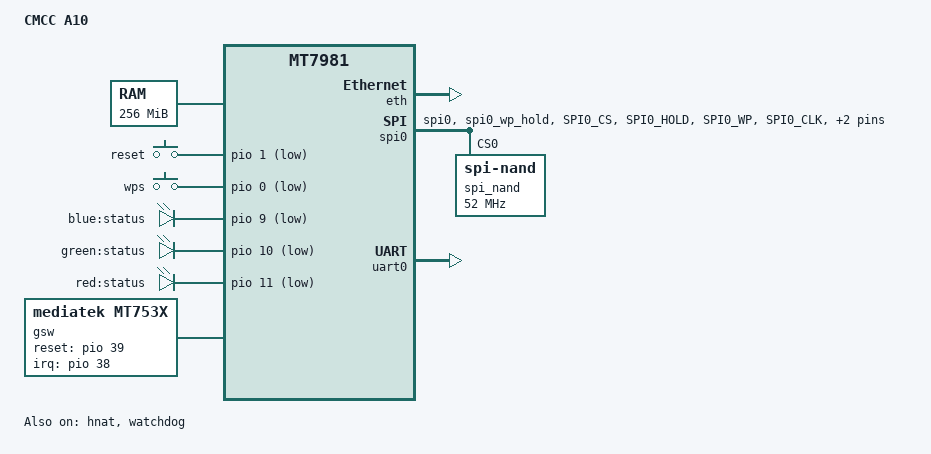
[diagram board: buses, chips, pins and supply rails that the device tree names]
// SPDX-License-Identifier: GPL-2.0-or-later OR MIT
/*
 * Copyright (C) 2023 Tianling Shen <cnsztl@immortalwrt.org>
 */

/dts-v1/;
#include "mt7981.dtsi"

/ {
	model = "CMCC A10";
	compatible = "cmcc,a10", "mediatek,mt7981";

	aliases {
		led-boot = &boot_led;
		led-failsafe = &boot_led;
		led-running = &running_led;
		led-upgrade = &running_led;
	};

	chosen {
		bootargs = "console=ttyS0,115200n1 loglevel=8 earlycon=uart8250,mmio32,0x11002000";
	};

	memory {
		reg = <0 0x40000000 0 0x10000000>;
	};

	gpio-keys {
		compatible = "gpio-keys";

		button-reset {
			label = "reset";
			linux,code = <KEY_RESTART>;
			gpios = <&pio 1 GPIO_ACTIVE_LOW>;
		};

		button-wps {
			label = "wps";
			linux,code = <KEY_WPS_BUTTON>;
			gpios = <&pio 0 GPIO_ACTIVE_LOW>;
		};
	};

	gpio-leds {
		compatible = "gpio-leds";

		led-0 {
			label = "blue:status";
			gpios = <&pio 9 GPIO_ACTIVE_LOW>;
		};

		running_led: led-1 {
			label = "green:status";
			gpios = <&pio 10 GPIO_ACTIVE_LOW>;
		};

		boot_led: led-2 {
			label = "red:status";
			gpios = <&pio 11 GPIO_ACTIVE_LOW>;
		};
	};

	gsw: gsw@0 {
		compatible = "mediatek,mt753x";
		mediatek,ethsys = <&ethsys>;
		#address-cells = <1>;
		#size-cells = <0>;
	};

	nmbm_spim_nand {
		compatible = "generic,nmbm";

		#address-cells = <1>;
		#size-cells = <1>;

		lower-mtd-device = <&spi_nand>;
		forced-create;

		partitions {
			compatible = "fixed-partitions";
			#address-cells = <1>;
			#size-cells = <1>;

			partition@0 {
				label = "BL2";
				reg = <0x00000 0x100000>;
				read-only;
			};

			partition@100000 {
				label = "u-boot-env";
				reg = <0x100000 0x80000>;
			};

			partition@180000 {
				label = "Factory";
				reg = <0x180000 0x200000>;
			};

			partition@380000 {
				label = "FIP";
				reg = <0x380000 0x200000>;
			};

			partition@580000 {
				label = "ubi";
				reg = <0x580000 0x7000000>;
			};
		};
	};
};

&eth {
	status = "okay";

	gmac0: mac@0 {
		compatible = "mediatek,eth-mac";
		reg = <0>;
		phy-mode = "2500base-x";

		fixed-link {
			speed = <2500>;
			full-duplex;
			pause;
		};
	};

	gmac1: mac@1 {
		compatible = "mediatek,eth-mac";
		reg = <1>;
		phy-mode = "2500base-x";

		fixed-link {
			speed = <2500>;
			full-duplex;
			pause;
		};
	};

	mdio: mdio-bus {
		#address-cells = <1>;
		#size-cells = <0>;
	};
};

&gsw {
	mediatek,mdio = <&mdio>;
	mediatek,mdio_master_pinmux = <0>;
	reset-gpios = <&pio 39 0>;
	interrupt-parent = <&pio>;
	interrupts = <38 IRQ_TYPE_LEVEL_HIGH>;
	status = "okay";

	port5: port@5 {
		compatible = "mediatek,mt753x-port";
		reg = <5>;
		phy-mode = "sgmii";

		fixed-link {
			speed = <2500>;
			full-duplex;
		};
	};

	port6: port@6 {
		compatible = "mediatek,mt753x-port";
		mediatek,ssc-on;
		reg = <6>;
		phy-mode = "sgmii";

		fixed-link {
			speed = <2500>;
			full-duplex;
		};
	};
};

&hnat {
	mtketh-wan = "eth1";
	mtketh-lan = "eth0";
	mtketh-max-gmac = <2>;
	status = "okay";
};

&spi0 {
	pinctrl-names = "default";
	pinctrl-0 = <&spi0_flash_pins>;
	status = "okay";

	spi_nand: spi_nand@0 {
		#address-cells = <1>;
		#size-cells = <1>;
		compatible = "spi-nand";
		reg = <0>;
		spi-max-frequency = <52000000>;
		spi-tx-bus-width = <4>;
		spi-rx-bus-width = <4>;
	};
};

&pio {
	spi0_flash_pins: spi0-pins {
		mux {
			function = "spi";
			groups = "spi0", "spi0_wp_hold";
		};

		conf-pu {
			pins = "SPI0_CS", "SPI0_HOLD", "SPI0_WP";
			drive-strength = <MTK_DRIVE_8mA>;
			bias-pull-up = <MTK_PUPD_SET_R1R0_11>;
		};

		conf-pd {
			pins = "SPI0_CLK", "SPI0_MOSI", "SPI0_MISO";
			drive-strength = <MTK_DRIVE_8mA>;
			bias-pull-down = <MTK_PUPD_SET_R1R0_11>;
		};
	};
};

&uart0 {
	status = "okay";
};

&watchdog {
	status = "okay";
};
